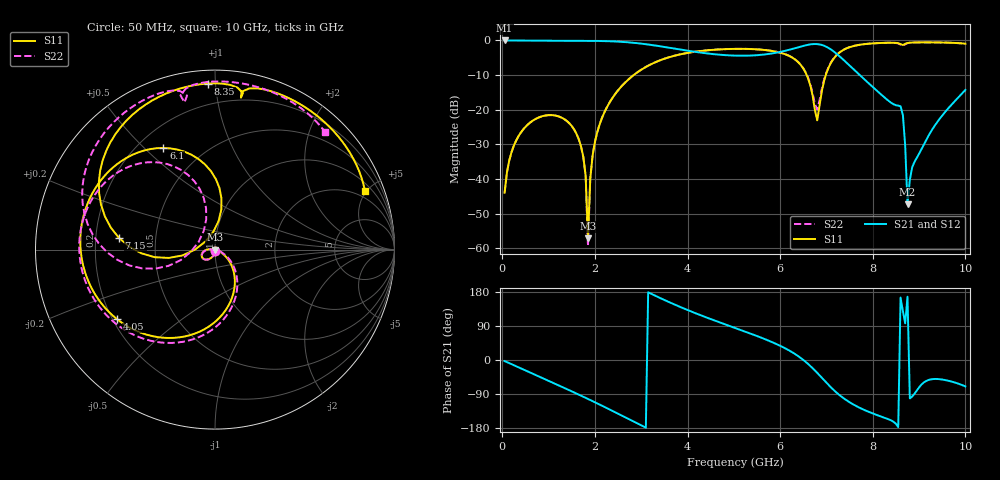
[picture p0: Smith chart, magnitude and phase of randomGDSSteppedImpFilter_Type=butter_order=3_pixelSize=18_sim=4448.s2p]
! freq	dB(S11)	phase(S11)	dB(S12)	phase(S12)
!  dB(S21)	phase(S21)	dB(S22)	phase(S22)
!S-par simulation data
#  GHz  S  DB  R 50
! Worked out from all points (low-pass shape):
!   200 points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, 50 MHz to 10 GHz, reference 50 ohm
!   highest |S21| = -0.01 dB at 50 MHz (marker M1); lowest = -47.3 dB at 8.75 GHz (marker M2)
!   |S21| within 3 dB of the highest: start of sweep to 4.022 GHz; 6.105 GHz to 7.138 GHz (1.033 GHz wide, 15.6 % of centre)
!   lowest |S11| = -57.1 dB at 1.85 GHz (marker M3), VSWR 1.00, Z = 49.9 - j0.0489 ohm
!   |S11| at or under -10 dB: start of sweep to 2.837 GHz; 6.573 GHz to 6.986 GHz (413.7 MHz wide, 6.1 % of centre)
!   |S22| runs from -59.4 to -0.6 dB; largest |S21 - S12| = 0
!   S11 on the Smith chart (normalised r, x): 50 MHz: 1.00, -0.01; 4.05 GHz: 0.22, -0.31; 6.1 GHz: 0.30, +0.57; 7.15 GHz: 0.30, +0.06; 8.35 GHz: 0.07, +0.96; 10 GHz: 1.44, +4.87
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0.05  -43.96 -90.6  -0.01 -2.8  -0.01 -2.8  -43.96 -90.6
0.25  -30.37 -103.8  -0.03 -13.8  -0.03 -13.8  -30.37 -103.4
0.75  -22.47 -132.4  -0.08 -41.3  -0.08 -41.3  -22.47 -131.3
1.4  -23.33 -168.7  -0.11 -77.1  -0.11 -77.1  -23.34 -166.8
1.75  -33.67 172.4  -0.11 -97.0  -0.11 -97.0  -33.75 173.9
1.8  -39.05 171.1  -0.12 -99.9  -0.12 -99.9  -39.20 171.5
1.85  -57.09 -159.5  -0.12 -102.8  -0.12 -102.8  -59.41 -174.2
1.9  -39.89 -21.8  -0.12 -105.7  -0.12 -105.7  -39.73 -16.2
1.95  -33.24 -22.8  -0.13 -108.6  -0.13 -108.6  -33.15 -18.6
2.15  -22.48 -33.6  -0.17 -120.5  -0.17 -120.5  -22.45 -29.9
3.4  -5.77 -109.6  -1.66 164.0  -1.66 164.0  -5.76 -103.9
4.05  -3.49 -144.5  -3.06 129.4  -3.06 129.4  -3.48 -137.4
5.05  -2.43 169.0  -4.39 83.6  -4.39 83.6  -2.42 178.9
6.1  -3.94 116.9  -3.02 31.4  -3.02 31.4  -3.93 130.9
6.7  -15.84 82.7  -1.07 -21.4  -1.07 -21.4  -15.17 106.3
6.8  -23.08 141.1  -1.06 -33.9  -1.06 -33.9  -19.92 155.2
7.15  -5.35 173.0  -3.12 -78.6  -3.12 -78.6  -5.26 -173.9
8.35  -0.67 92.4  -17.53 -156.9  -17.53 -156.9  -0.68 112.2
8.65  -1.32 80.3  -21.55 129.3  -21.55 129.3  -1.54 101.7
8.75  -0.74 78.0  -47.32 167.0  -47.32 167.0  -0.80 100.3
8.9  -0.57 70.5  -35.09 -89.2  -35.09 -89.2  -0.59 93.1
10  -0.94 21.4  -14.29 -69.6  -14.29 -69.6  -0.94 46.7
